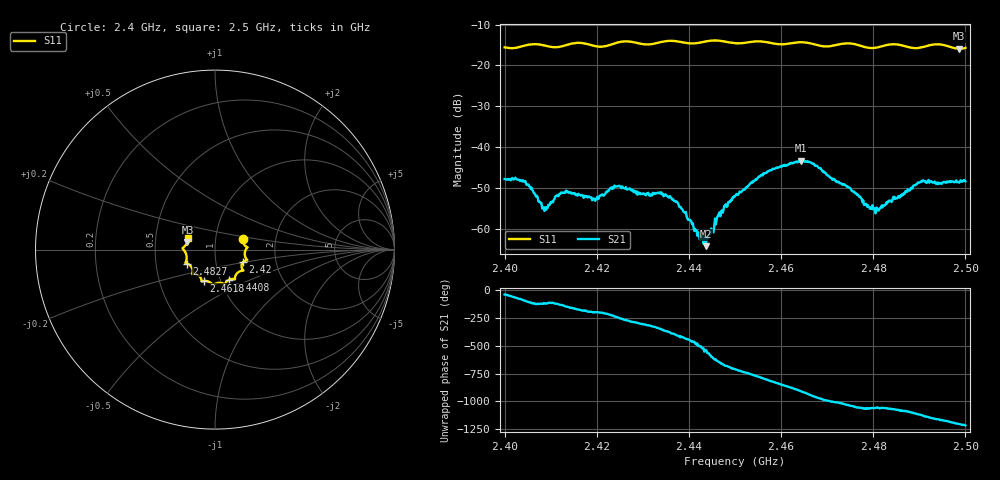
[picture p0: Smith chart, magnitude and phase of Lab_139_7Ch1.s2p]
# Hz S RI R 50
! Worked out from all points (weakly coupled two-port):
!   601 points, 2.4 GHz to 2.5 GHz, reference 50 ohm
!   highest |S21| = -43.29 dB at 2.4643 GHz (marker M1); lowest = -64.2 dB at 2.4437 GHz (marker M2)
!   lowest |S11| = -15.9 dB at 2.4987 GHz (marker M3), VSWR 1.38, Z = 36.5 + j3.24 ohm
!   |S11| at or under -10 dB: start of sweep to end of sweep
!   S12 and S22 are empty: the file has one direction only
!   S11 on the Smith chart (normalised r, x): 2.4 GHz: 1.35, +0.17; 2.42 GHz: 1.35, -0.19; 2.4408 GHz: 1.10, -0.38; 2.4618 GHz: 0.83, -0.30; 2.4827 GHz: 0.72, -0.12; 2.5 GHz: 0.73, +0.10
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2.4e9  0.1547 0.0614  0.00322 -0.00251  0 0  0 0
2.4045e9  0.1746 0.0155  -0.000204 -0.00386  0 0  0 0
2.408667e9  0.1751 0.00568  -0.000814 -0.00145  0 0  0 0
2.412333e9  0.167 -0.0352  -0.00187 -0.00208  0 0  0 0
2.416667e9  0.1789 -0.0586  -0.0026 1.2e-05  0 0  0 0
2.42e9  0.1563 -0.069  -0.00227 0.00072  0 0  0 0
2.424333e9  0.1534 -0.1107  -0.00159 0.0029  0 0  0 0
2.433333e9  0.1115 -0.1531  0.00259 0.000967  0 0  0 0
2.437167e9  0.1088 -0.1655  0.00163 -0.0014  0 0  0 0
2.440833e9  0.0774 -0.1686  -0.000294 -0.00114  0 0  0 0
2.443667e9  0.057 -0.188  -0.000616 -2.81e-05  0 0  0 0
2.446667e9  0.0509 -0.1937  0.00049 0.00152  0 0  0 0
2.45e9  0.027 -0.1848  0.00246 0.000413  0 0  0 0
2.461833e9  -0.0615 -0.1749  -0.00551 -0.00296  0 0  0 0
2.464333e9  -0.0741 -0.1772  -0.00677 0.000985  0 0  0 0
2.466667e9  -0.0758 -0.1683  -0.00428 0.00474  0 0  0 0
2.479167e9  -0.1292 -0.1007  0.00178 0.000447  0 0  0 0
2.482667e9  -0.1581 -0.0778  0.00188 0.000648  0 0  0 0
2.483333e9  -0.162 -0.0768  0.00209 0.000494  0 0  0 0
2.4905e9  -0.1653 -0.0145  0.0027 -0.00263  0 0  0 0
2.498667e9  -0.1538 0.0432  -0.00208 -0.00304  0 0  0 0
2.5e9  -0.151 0.0631  -0.00279 -0.00262  0 0  0 0
